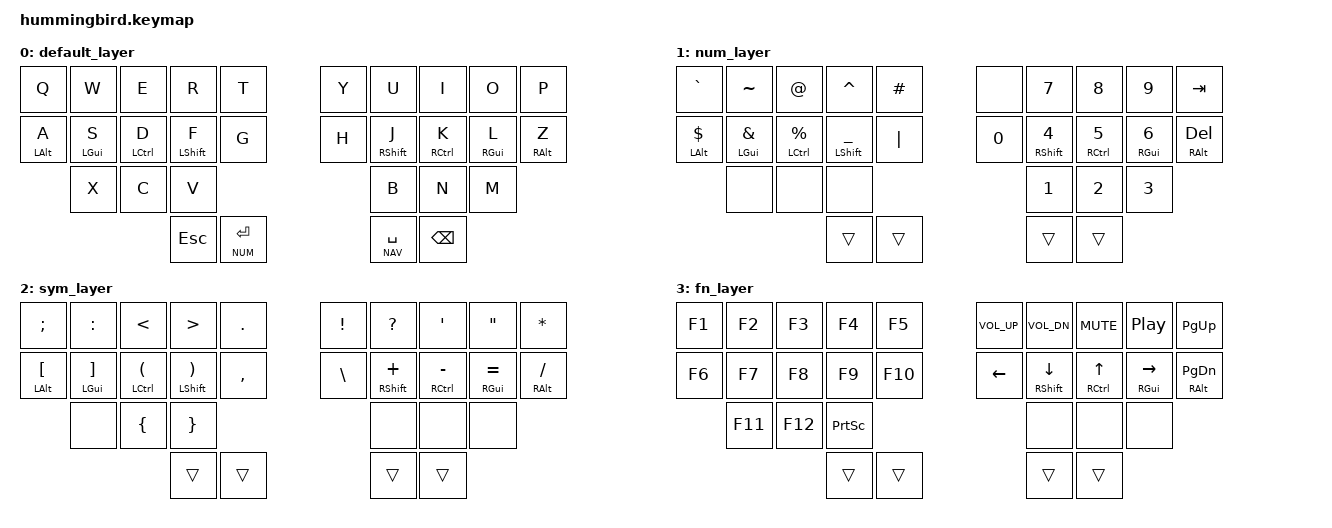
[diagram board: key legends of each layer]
/*
 * Copyright (c) 2022 The ZMK Contributors
 *
 * SPDX-License-Identifier: MIT
 */

#include <behaviors.dtsi>
//#include <dt-bindings/zmk/bt.h>
#include <dt-bindings/zmk/keys.h>
#include <dt-bindings/zmk/outputs.h>

// Using layer taps on thumbs, having quick tap as well helps w/ repeating space/backspace

#define DEF 0
#define NUM 1
#define NAV 2
#define SYS 3

#define QUICK_TAP_MS 175

#define KEYS_L 0 1 2 3 4 10 11 12 13 14 20 21 22 23 24
#define KEYS_R 5 6 7 8 9 15 16 17 18 19 25 26 27 28 29
#define THUMBS 30 31 32 33

&sk {  // sticky-key config
    release-after-ms = <1000>; // release after 1s
    quick-release;             // no double capitalization when rolling keys
};

&sl {  // sticky-layer config
    ignore-modifiers;          // allow chording sticky mods & layers
};

&lt {  // layer-tap config
    flavor = "balanced";
    tapping-term-ms = <200>;
    quick-tap-ms = <QUICK_TAP_MS>;
};

/ {
    conditional_layers {
        compatible = "zmk,conditional-layers";
        sys_condition {
            if-layers = <NUM NAV>;
            then-layer = <SYS>;
        };
    };
    behaviors {
        hml: homerow_mods_left {
            compatible = "zmk,behavior-hold-tap";
            label = "HOMEROW_MODS_LEFT";
            #binding-cells = <2>;
            tapping-term-ms = <280>;
            quick-tap-ms = <200>;
            flavor = "balanced";
            bindings = <&kp>, <&kp>;
            hold-trigger-key-positions = <KEYS_R THUMBS>;
            hold-trigger-on-release;
        };
        hmr: homerow_mods_right {
            compatible = "zmk,behavior-hold-tap";
            label = "HOMEROW_MODS_RIGHT";
            #binding-cells = <2>;
            tapping-term-ms = <280>;
            quick-tap-ms = <200>;
            flavor = "balanced";
            bindings = <&kp>, <&kp>;
            hold-trigger-key-positions = <KEYS_L THUMBS>;
            hold-trigger-on-release;
        };
    };
    keymap {
        compatible = "zmk,keymap";

        default_layer {
            bindings = <
                &kp Q       &kp W       &kp E        &kp R        &kp T            /*|*/   &kp Y &kp U        &kp I        &kp O       &kp P
                &hml LALT A &hml LGUI S &hml LCTRL D &hml LSHFT F &kp G            /*|*/   &kp H &hmr RSHFT J &hmr RCTRL K &hmr RGUI L &hmr RALT Z
                            &kp X       &kp C        &kp V                         /*|*/         &kp B        &kp N        &kp M
                                                     &kp ESC      &lt NUM ENTER    /*|*/   &lt NAV SPACE  &kp BSPC
        >;
        };

        num_layer {
            bindings = <
        &kp GRAVE      &kp TILDE      &kp AT           &kp CARET        &kp HASH   /*|*/   &none  &kp N7        &kp N8        &kp N9       &kp TAB
        &hml LALT DLLR &hml LGUI AMPS &hml LCTRL PRCNT &hml LSHFT UNDER &kp PIPE   /*|*/   &kp N0 &hmr RSHFT N4 &hmr RCTRL N5 &hmr RGUI N6 &hmr RALT DEL
                       &none          &none            &none                       /*|*/          &kp N1        &kp N2        &kp N3
                                                       &trans           &trans     /*|*/   &trans &trans
            >;
        };

        sym_layer {
            bindings = <
        &kp SEMI       &kp COLON      &kp LT          &kp GT          &kp DOT      /*|*/   &kp EXCL      &kp  QMARK      &kp  SQT         &kp  DQT        &kp  STAR
        &hml LALT LBKT &hml LGUI RBKT &hml LCTRL LPAR &hml LSHFT RPAR &kp COMMA    /*|*/   &kp BACKSLASH &hmr RSHFT PLUS &hmr RCTRL MINUS &hmr RGUI EQUAL &hmr RALT SLASH
                       &none          &kp LBRC        &kp RBRC                     /*|*/                 &none           &none            &none        
                                                      &trans         &trans        /*|*/   &trans       &trans
            >;
        };

        fn_layer {
            bindings = <
                                    &kp F1  &kp F2   &kp F3   &kp F4     &kp F5    /*|*/    &kp C_VOL_UP &kp C_VOL_DN    &kp K_MUTE    &kp  C_PP       &kp PG_UP
                                    &kp F6  &kp F7   &kp F8   &kp F9     &kp F10   /*|*/    &kp LEFT     &hmr RSHFT DOWN &hmr RCTRL UP &hmr RGUI RIGHT &hmr RALT PG_DN
                                            &kp F11  &kp F12  &kp PSCRN            /*|*/                 &none      &none  &none
                                                              &trans     &trans    /*|*/    &trans       &trans
            >;
        };
    };
};
